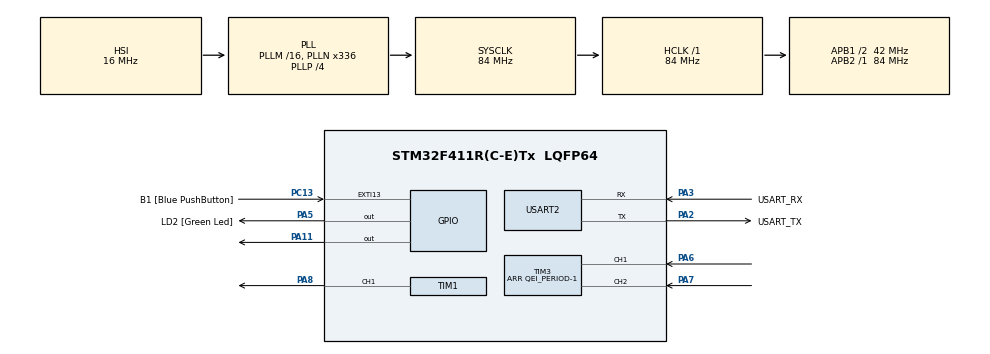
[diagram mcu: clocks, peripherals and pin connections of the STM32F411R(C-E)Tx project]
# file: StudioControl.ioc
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Mcu.Family=STM32F4
Mcu.Name=STM32F411R(C-E)Tx
Mcu.Package=LQFP64
Mcu.UserConstants=QEI_PERIOD,65536
NVIC.PriorityGroup=NVIC_PRIORITYGROUP_0
PA11.Signal=GPIO_Output
PA13.GPIO_Label=TMS
PA13.Mode=Trace_Asynchronous_SW
PA13.Signal=SYS_JTMS-SWDIO
PA14.GPIO_Label=TCK
PA14.Mode=Trace_Asynchronous_SW
PA14.Signal=SYS_JTCK-SWCLK
PA2.GPIO_Label=USART_TX
PA2.Mode=Asynchronous
PA2.Signal=USART2_TX
PA3.GPIO_Label=USART_RX
PA3.Mode=Asynchronous
PA3.Signal=USART2_RX
PA5.GPIO_Label=LD2 [Green Led]
PA5.Signal=GPIO_Output
PA6.Signal=S_TIM3_CH1
PA7.Signal=S_TIM3_CH2
PA8.Signal=S_TIM1_CH1
PB3.GPIO_Label=SWO
PB3.Mode=Trace_Asynchronous_SW
PB3.Signal=SYS_JTDO-SWO
PC13-ANTI_TAMP.GPIO_Label=B1 [Blue PushButton]
PC13-ANTI_TAMP.GPIO_ModeDefaultEXTI=GPIO_MODE_IT_FALLING
PC13-ANTI_TAMP.Signal=GPXTI13
PC14-OSC32_IN.Mode=LSE-External-Oscillator
PC14-OSC32_IN.Signal=RCC_OSC32_IN
PC15-OSC32_OUT.Mode=LSE-External-Oscillator
PC15-OSC32_OUT.Signal=RCC_OSC32_OUT
PH0\ -\ OSC_IN.Mode=HSE-External-Clock-Source
PH0\ -\ OSC_IN.Signal=RCC_OSC_IN
PH1\ -\ OSC_OUT.Mode=HSE-External-Clock-Source
PH1\ -\ OSC_OUT.Signal=RCC_OSC_OUT
ProjectManager.HeapSize=0x200
ProjectManager.StackSize=0x400
ProjectManager.TargetToolchain=STM32CubeIDE
RCC.48MHZClocksFreq_Value=84000000
RCC.AHBFreq_Value=84000000
RCC.APB1CLKDivider=RCC_HCLK_DIV2
RCC.APB1Freq_Value=42000000
RCC.APB1TimFreq_Value=84000000
RCC.APB2Freq_Value=84000000
RCC.APB2TimFreq_Value=84000000
RCC.CortexFreq_Value=84000000
RCC.FLatency-AdvancedSettings=FLASH_LATENCY_2
RCC.HCLKFreq_Value=84000000
RCC.HSE_VALUE=8000000
RCC.HSI_VALUE=16000000
RCC.PLLN=336
RCC.PLLP=RCC_PLLP_DIV4
RCC.SYSCLKFreq_VALUE=84000000
RCC.SYSCLKSource=RCC_SYSCLKSOURCE_PLLCLK
RCC.VCOOutputFreq_Value=336000000
SH.S_TIM1_CH1.0=TIM1_CH1,PWM Generation1 CH1
SH.S_TIM3_CH1.0=TIM3_CH1,Encoder_Interface
SH.S_TIM3_CH2.0=TIM3_CH2,Encoder_Interface
TIM1.Channel-PWM\ Generation1\ CH1=TIM_CHANNEL_1
TIM1.Period=9999
TIM1.Prescaler=9
TIM3.Period=QEI_PERIOD-1
TIM5.Prescaler=83
TIM5.TIM_MasterOutputTrigger=TIM_TRGO_UPDATE
USART2.VirtualMode=VM_ASYNC
VP_TIM1_VS_ClockSourceINT.Mode=Internal
VP_TIM5_VS_ClockSourceINT.Mode=Internal
board=NUCLEO-F411RE

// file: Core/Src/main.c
/* USER CODE BEGIN Header */
/**
  ******************************************************************************
  * @file           : main.c
  * @brief          : Main program body
  ******************************************************************************
  * @attention
  *
  * Copyright (c) 2023 STMicroelectronics.
  * All rights reserved.
  *
  * This software is licensed under terms that can be found in the LICENSE file
  * in the root directory of this software component.
  * If no LICENSE file comes with this software, it is provided AS-IS.
  *
  ******************************************************************************
  */
/* USER CODE END Header */
#include "main.h"

/* USER CODE BEGIN Includes */
#include "arm_math.h"
/* USER CODE END Includes */

TIM_HandleTypeDef htim1;
TIM_HandleTypeDef htim3;
TIM_HandleTypeDef htim5;

UART_HandleTypeDef huart2;

/* USER CODE BEGIN PV */

float dt = 0;
// QEI
typedef struct _QEIStructure
{
	int data[2];
	uint32_t timestamp[2];

	float position;	// mm
	float velocity;	// mm/s
}QEIStructureTypeDef;
QEIStructureTypeDef QEIData = {0};
//-------------------------------------
//variables for Time
uint64_t _micros = 0;
//-------------------------------------
//variables for converting to mm/s
float pulley_dia = 30.558;
uint16_t res = 8192;
//-------------------------------------
//variables for position control
float position = 0;
float first_error = 0;
float second_error = 0;
float third_error = 0;
//-------------------------------------
//gain of position
float kp_position = 8;
float ki_position = 0.02;
float kd_position = 0;
//-------------------------------------
/* USER CODE END PV */

void SystemClock_Config(void);
static void MX_GPIO_Init(void);
static void MX_USART2_UART_Init(void);
static void MX_TIM1_Init(void);
static void MX_TIM5_Init(void);
static void MX_TIM3_Init(void);
/* USER CODE BEGIN PFP */
inline uint64_t micros();
void PulseEncoder();
void PositionControlVelocityForm();
void DriveMotor();
/* USER CODE END PFP */

int main(void)
{

  /* MCU Configuration--------------------------------------------------------*/

  /* Reset of all peripherals, Initializes the Flash interface and the Systick. */
  HAL_Init();

  /* Configure the system clock */
  SystemClock_Config();

  /* Initialize all configured peripherals */
  MX_GPIO_Init();
  MX_USART2_UART_Init();
  MX_TIM1_Init();
  MX_TIM5_Init();
  MX_TIM3_Init();
  /* USER CODE BEGIN 2 */
  HAL_TIM_Base_Start(&htim1);
  HAL_TIM_PWM_Start(&htim1, TIM_CHANNEL_1);
  HAL_TIM_Encoder_Start(&htim3, TIM_CHANNEL_1 | TIM_CHANNEL_2);
  HAL_TIM_Base_Start(&htim5);

  /* USER CODE END 2 */

  /* Infinite loop */
  /* USER CODE BEGIN WHILE */
  while (1)
  {
	  static uint32_t timestamp = 0;
	  int64_t currentTime = micros();
	  if(currentTime > timestamp)
	  {
		  timestamp = currentTime + 100000; //100000 microsecond = 0.1 second = 10Hz

		  PulseEncoder();

		  PositionControlVelocityForm();

		  DriveMotor();

	  }
    /* USER CODE END WHILE */

  }
}

void SystemClock_Config(void)
{
  RCC_OscInitTypeDef RCC_OscInitStruct = {0};
  RCC_ClkInitTypeDef RCC_ClkInitStruct = {0};

  /** Configure the main internal regulator output voltage
  */
  __HAL_RCC_PWR_CLK_ENABLE();
  __HAL_PWR_VOLTAGESCALING_CONFIG(PWR_REGULATOR_VOLTAGE_SCALE1);

  /** Initializes the RCC Oscillators according to the specified parameters
  * in the RCC_OscInitTypeDef structure.
  */
  RCC_OscInitStruct.OscillatorType = RCC_OSCILLATORTYPE_HSI;
  RCC_OscInitStruct.HSIState = RCC_HSI_ON;
  RCC_OscInitStruct.HSICalibrationValue = RCC_HSICALIBRATION_DEFAULT;
  RCC_OscInitStruct.PLL.PLLState = RCC_PLL_ON;
  RCC_OscInitStruct.PLL.PLLSource = RCC_PLLSOURCE_HSI;
  RCC_OscInitStruct.PLL.PLLM = 16;
  RCC_OscInitStruct.PLL.PLLN = 336;
  RCC_OscInitStruct.PLL.PLLP = RCC_PLLP_DIV4;
  RCC_OscInitStruct.PLL.PLLQ = 4;
  if (HAL_RCC_OscConfig(&RCC_OscInitStruct) != HAL_OK)
  {
    Error_Handler();
  }

  /** Initializes the CPU, AHB and APB buses clocks
  */
  RCC_ClkInitStruct.ClockType = RCC_CLOCKTYPE_HCLK|RCC_CLOCKTYPE_SYSCLK
                              |RCC_CLOCKTYPE_PCLK1|RCC_CLOCKTYPE_PCLK2;
  RCC_ClkInitStruct.SYSCLKSource = RCC_SYSCLKSOURCE_PLLCLK;
  RCC_ClkInitStruct.AHBCLKDivider = RCC_SYSCLK_DIV1;
  RCC_ClkInitStruct.APB1CLKDivider = RCC_HCLK_DIV2;
  RCC_ClkInitStruct.APB2CLKDivider = RCC_HCLK_DIV1;

  if (HAL_RCC_ClockConfig(&RCC_ClkInitStruct, FLASH_LATENCY_2) != HAL_OK)
  {
    Error_Handler();
  }
}

static void MX_TIM1_Init(void)
{

  TIM_ClockConfigTypeDef sClockSourceConfig = {0};
  TIM_MasterConfigTypeDef sMasterConfig = {0};
  TIM_OC_InitTypeDef sConfigOC = {0};
  TIM_BreakDeadTimeConfigTypeDef sBreakDeadTimeConfig = {0};

  htim1.Instance = TIM1;
  htim1.Init.Prescaler = 9;
  htim1.Init.CounterMode = TIM_COUNTERMODE_UP;
  htim1.Init.Period = 9999;
  htim1.Init.ClockDivision = TIM_CLOCKDIVISION_DIV1;
  htim1.Init.RepetitionCounter = 0;
  htim1.Init.AutoReloadPreload = TIM_AUTORELOAD_PRELOAD_DISABLE;
  if (HAL_TIM_Base_Init(&htim1) != HAL_OK)
  {
    Error_Handler();
  }
  sClockSourceConfig.ClockSource = TIM_CLOCKSOURCE_INTERNAL;
  if (HAL_TIM_ConfigClockSource(&htim1, &sClockSourceConfig) != HAL_OK)
  {
    Error_Handler();
  }
  if (HAL_TIM_PWM_Init(&htim1) != HAL_OK)
  {
    Error_Handler();
  }
  sMasterConfig.MasterOutputTrigger = TIM_TRGO_RESET;
  sMasterConfig.MasterSlaveMode = TIM_MASTERSLAVEMODE_DISABLE;
  if (HAL_TIMEx_MasterConfigSynchronization(&htim1, &sMasterConfig) != HAL_OK)
  {
    Error_Handler();
  }
  sConfigOC.OCMode = TIM_OCMODE_PWM1;
  sConfigOC.Pulse = 0;
  sConfigOC.OCPolarity = TIM_OCPOLARITY_HIGH;
  sConfigOC.OCNPolarity = TIM_OCNPOLARITY_HIGH;
  sConfigOC.OCFastMode = TIM_OCFAST_DISABLE;
  sConfigOC.OCIdleState = TIM_OCIDLESTATE_RESET;
  sConfigOC.OCNIdleState = TIM_OCNIDLESTATE_RESET;
  if (HAL_TIM_PWM_ConfigChannel(&htim1, &sConfigOC, TIM_CHANNEL_1) != HAL_OK)
  {
    Error_Handler();
  }
  sBreakDeadTimeConfig.OffStateRunMode = TIM_OSSR_DISABLE;
  sBreakDeadTimeConfig.OffStateIDLEMode = TIM_OSSI_DISABLE;
  sBreakDeadTimeConfig.LockLevel = TIM_LOCKLEVEL_OFF;
  sBreakDeadTimeConfig.DeadTime = 0;
  sBreakDeadTimeConfig.BreakState = TIM_BREAK_DISABLE;
  sBreakDeadTimeConfig.BreakPolarity = TIM_BREAKPOLARITY_HIGH;
  sBreakDeadTimeConfig.AutomaticOutput = TIM_AUTOMATICOUTPUT_DISABLE;
  if (HAL_TIMEx_ConfigBreakDeadTime(&htim1, &sBreakDeadTimeConfig) != HAL_OK)
  {
    Error_Handler();
  }
  HAL_TIM_MspPostInit(&htim1);

}

static void MX_TIM3_Init(void)
{

  TIM_Encoder_InitTypeDef sConfig = {0};
  TIM_MasterConfigTypeDef sMasterConfig = {0};

  htim3.Instance = TIM3;
  htim3.Init.Prescaler = 0;
  htim3.Init.CounterMode = TIM_COUNTERMODE_UP;
  htim3.Init.Period = QEI_PERIOD-1;
  htim3.Init.ClockDivision = TIM_CLOCKDIVISION_DIV1;
  htim3.Init.AutoReloadPreload = TIM_AUTORELOAD_PRELOAD_DISABLE;
  sConfig.EncoderMode = TIM_ENCODERMODE_TI1;
  sConfig.IC1Polarity = TIM_ICPOLARITY_RISING;
  sConfig.IC1Selection = TIM_ICSELECTION_DIRECTTI;
  sConfig.IC1Prescaler = TIM_ICPSC_DIV1;
  sConfig.IC1Filter = 0;
  sConfig.IC2Polarity = TIM_ICPOLARITY_RISING;
  sConfig.IC2Selection = TIM_ICSELECTION_DIRECTTI;
  sConfig.IC2Prescaler = TIM_ICPSC_DIV1;
  sConfig.IC2Filter = 0;
  if (HAL_TIM_Encoder_Init(&htim3, &sConfig) != HAL_OK)
  {
    Error_Handler();
  }
  sMasterConfig.MasterOutputTrigger = TIM_TRGO_RESET;
  sMasterConfig.MasterSlaveMode = TIM_MASTERSLAVEMODE_DISABLE;
  if (HAL_TIMEx_MasterConfigSynchronization(&htim3, &sMasterConfig) != HAL_OK)
  {
    Error_Handler();
  }

}

static void MX_TIM5_Init(void)
{

  TIM_ClockConfigTypeDef sClockSourceConfig = {0};
  TIM_MasterConfigTypeDef sMasterConfig = {0};

  htim5.Instance = TIM5;
  htim5.Init.Prescaler = 83;
  htim5.Init.CounterMode = TIM_COUNTERMODE_UP;
  htim5.Init.Period = 4294967295;
  htim5.Init.ClockDivision = TIM_CLOCKDIVISION_DIV1;
  htim5.Init.AutoReloadPreload = TIM_AUTORELOAD_PRELOAD_DISABLE;
  if (HAL_TIM_Base_Init(&htim5) != HAL_OK)
  {
    Error_Handler();
  }
  sClockSourceConfig.ClockSource = TIM_CLOCKSOURCE_INTERNAL;
  if (HAL_TIM_ConfigClockSource(&htim5, &sClockSourceConfig) != HAL_OK)
  {
    Error_Handler();
  }
  sMasterConfig.MasterOutputTrigger = TIM_TRGO_UPDATE;
  sMasterConfig.MasterSlaveMode = TIM_MASTERSLAVEMODE_DISABLE;
  if (HAL_TIMEx_MasterConfigSynchronization(&htim5, &sMasterConfig) != HAL_OK)
  {
    Error_Handler();
  }

}

static void MX_USART2_UART_Init(void)
{

  huart2.Instance = USART2;
  huart2.Init.BaudRate = 115200;
  huart2.Init.WordLength = UART_WORDLENGTH_8B;
  huart2.Init.StopBits = UART_STOPBITS_1;
  huart2.Init.Parity = UART_PARITY_NONE;
  huart2.Init.Mode = UART_MODE_TX_RX;
  huart2.Init.HwFlowCtl = UART_HWCONTROL_NONE;
  huart2.Init.OverSampling = UART_OVERSAMPLING_16;
  if (HAL_UART_Init(&huart2) != HAL_OK)
  {
    Error_Handler();
  }

}

static void MX_GPIO_Init(void)
{
  GPIO_InitTypeDef GPIO_InitStruct = {0};

  /* GPIO Ports Clock Enable */
  __HAL_RCC_GPIOC_CLK_ENABLE();
  __HAL_RCC_GPIOH_CLK_ENABLE();
  __HAL_RCC_GPIOA_CLK_ENABLE();
  __HAL_RCC_GPIOB_CLK_ENABLE();

  /*Configure GPIO pin Output Level */
  HAL_GPIO_WritePin(GPIOA, LD2_Pin|GPIO_PIN_11, GPIO_PIN_RESET);

  /*Configure GPIO pin : B1_Pin */
  GPIO_InitStruct.Pin = B1_Pin;
  GPIO_InitStruct.Mode = GPIO_MODE_IT_FALLING;
  GPIO_InitStruct.Pull = GPIO_NOPULL;
  HAL_GPIO_Init(B1_GPIO_Port, &GPIO_InitStruct);

  /*Configure GPIO pins : LD2_Pin PA11 */
  GPIO_InitStruct.Pin = LD2_Pin|GPIO_PIN_11;
  GPIO_InitStruct.Mode = GPIO_MODE_OUTPUT_PP;
  GPIO_InitStruct.Pull = GPIO_NOPULL;
  GPIO_InitStruct.Speed = GPIO_SPEED_FREQ_LOW;
  HAL_GPIO_Init(GPIOA, &GPIO_InitStruct);

}

/* USER CODE BEGIN 4 */
void HAL_TIM_PeriodElasedCallback(TIM_HandleTypeDef *htim)
{
	if(htim == &htim5)
	{
		_micros += UINT32_MAX;
	}
}
uint64_t micros()
{
	return __HAL_TIM_GET_COUNTER(&htim5) + _micros;
}
//--------------------------------------------------------------------------------------------------------------------
void PulseEncoder()
{
	QEIData.timestamp[0] = micros();
	uint32_t lastposition = __HAL_TIM_GET_COUNTER(&htim3);
	QEIData.data[0] = lastposition;
	if (lastposition > ((QEI_PERIOD/2) - 1))
	{
		QEIData.data[0] = lastposition - QEI_PERIOD;
	}

	// position calculation
	QEIData.position = QEIData.data[0] * PI *  pulley_dia/res;

	int32_t diffPosition = QEIData.data[0] - QEIData.data[1];
	float diffTime = QEIData.timestamp[0] - QEIData.timestamp[1];

	// unwrap
	if (diffPosition > QEI_PERIOD>>1) diffPosition -= QEI_PERIOD;
	if (diffPosition < -(QEI_PERIOD>>1)) diffPosition += QEI_PERIOD;

	// velocity calculation
	QEIData.velocity = (diffPosition * 1000000.0 * PI * pulley_dia)/(res * diffTime);

	QEIData.data[1] = QEIData.data[0];
	QEIData.timestamp[1] = QEIData.timestamp[0];
}
//--------------------------------------------------------------------------------------------------------------------
void PositionControlVelocityForm()
{
	first_error = position - QEIData.position;

	PulseWidthModulation += ((kp_position + ki_position + kd_position) * first_error) - ((kp_position + (2 * kd_position)) * second_error) + (kd_position * third_error);

	third_error = second_error;

	second_error = first_error;

}
//--------------------------------------------------------------------------------------------------------------------
void DriveMotor()
{
	if(PulseWidthModulation > 0)
	{
		HAL_GPIO_WritePin(GPIOA, GPIO_PIN_11, GPIO_PIN_SET);

		if (PulseWidthModulation > 8000)
		{
			PulseWidthModulation = 8000;
		}
	}

	else
	{
		HAL_GPIO_WritePin(GPIOA, GPIO_PIN_11, GPIO_PIN_RESET);

		if(PulseWidthModulation < -8000)
		{
			PulseWidthModulation = -8000;
		}
	}

	__HAL_TIM_SET_COMPARE(&htim1, TIM_CHANNEL_1, fabs(PulseWidthModulation));
}
//--------------------------------------------------------------------------------------------------------------------
/* USER CODE END 4 */

void Error_Handler(void)
{
  __disable_irq();
  while (1)
  {
  }
}
